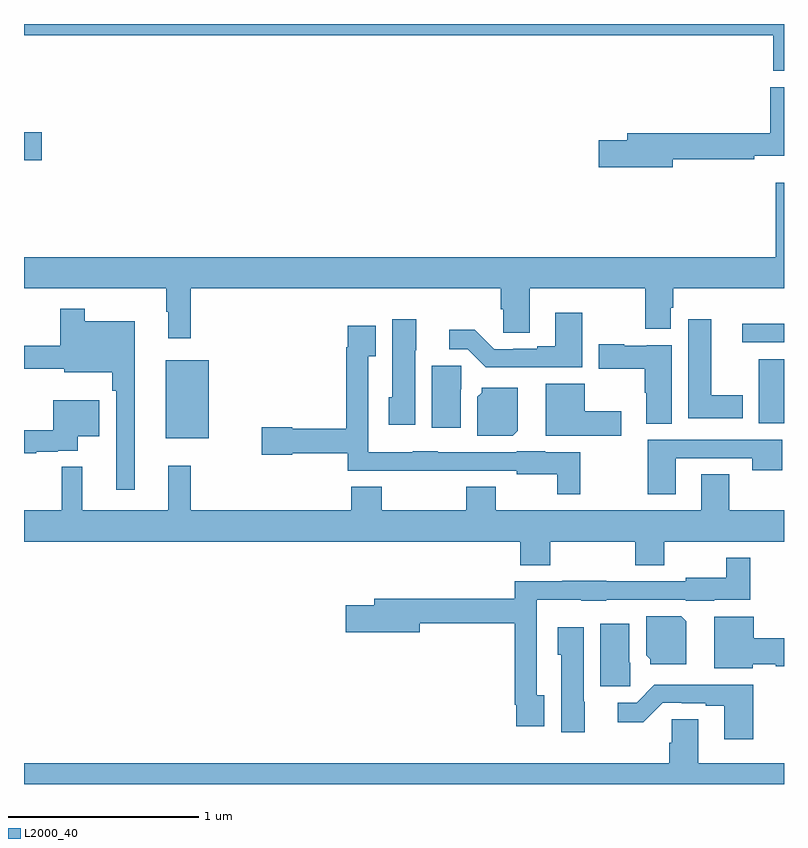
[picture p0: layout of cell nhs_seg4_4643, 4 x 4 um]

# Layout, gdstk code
import gdstk
lib = gdstk.Library(unit=1e-6, precision=1e-09)
def R(c, l, rs):  # rectangles x0, y0, x1, y1
    for r in rs: c.add(gdstk.rectangle(r[:2], r[2:], *l))
def P(c, l, *ps):  # polygons
    for p in ps: c.add(gdstk.Polygon(p, *l))
L2000_40 = (2000, 40)

nhs_seg4_4643 = lib.new_cell('nhs_seg4_4643')
R(nhs_seg4_4643, L2000_40, [(361.745,774.719,361.972,775.129), (364.868,774.8,365,775.135), (364.779,775.224,365,775.322), (361,776.183,361.093,776.33)])
P(nhs_seg4_4643, L2000_40, [(361,776.84),(364.943,776.84),(364.943,776.653),(365,776.653),(365,776.9),(361,776.9)],
  [(364.414,776.188),(364.844,776.188),(364.844,776.207),(365,776.207),(365,776.568),(364.928,776.568),(364.928,776.324),(364.175,776.324),(364.175,776.288),(364.026,776.288),(364.026,776.146),(364.414,776.146)],
  [(361.877,775.508),(363.509,775.508),(363.509,775.398),(363.522,775.398),(363.522,775.276),(363.661,775.276),(363.661,775.508),(364.27,775.508),(364.27,775.295),(364.405,775.295),(364.405,775.407),(364.418,775.407),(364.418,775.508),(365,775.508),(365,776.065),(364.957,776.065),(364.957,775.672),(361,775.672),(361,775.508),(361.749,775.508),(361.749,775.385),(361.76,775.385),(361.76,775.245),(361.877,775.245)],
  [(361.582,775.336),(361.321,775.336),(361.321,775.402),(361.192,775.402),(361.192,775.207),(361,775.207),(361,775.086),(361.211,775.086),(361.211,775.067),(361.465,775.067),(361.465,774.971),(361.485,774.971),(361.485,774.45),(361.582,774.45)],
  [(363.937,775.381),(363.797,775.381),(363.797,775.204),(363.701,775.204),(363.701,775.191),(363.574,775.191),(363.574,775.188),(363.474,775.188),(363.372,775.291),(363.237,775.291),(363.237,775.188),(363.336,775.188),(363.43,775.094),(363.937,775.094)],
  [(363.058,775.182),(363.064,775.182),(363.064,775.345),(362.939,775.345),(362.939,774.936),(362.921,774.936),(362.921,774.792),(363.058,774.792)],
  [(364.783,774.946),(364.618,774.946),(364.618,775.345),(364.496,775.345),(364.496,774.824),(364.783,774.824)],
  [(363.928,774.646),(363.744,774.646),(363.744,774.652),(363.594,774.652),(363.594,774.645),(363.177,774.645),(363.177,774.652),(363.045,774.652),(363.045,774.646),(362.811,774.646),(362.811,775.151),(362.851,775.151),(362.851,775.312),(362.703,775.312),(362.703,775.199),(362.695,775.199),(362.695,774.77),(362.412,774.77),(362.412,774.778),(362.25,774.778),(362.25,774.634),(362.412,774.634),(362.412,774.642),(362.703,774.642),(362.703,774.549),(362.945,774.549),(362.945,774.548),(363.177,774.548),(363.177,774.549),(363.594,774.549),(363.594,774.53),(363.807,774.53),(363.807,774.425),(363.928,774.425)],
  [(364.408,775.21),(364.278,775.21),(364.278,775.207),(364.158,775.207),(364.158,775.215),(364.026,775.215),(364.026,775.085),(364.267,775.085),(364.267,774.958),(364.274,774.958),(364.274,774.796),(364.408,774.796)],
  [(363.298,774.978),(363.302,774.978),(363.302,775.101),(363.146,775.101),(363.146,774.774),(363.298,774.774)],
  [(364.144,774.862),(363.952,774.862),(363.952,775.006),(363.746,775.006),(363.746,774.734),(363.948,774.734),(363.948,774.733),(364.144,774.733)],
  [(363.598,774.76),(363.598,774.985),(363.408,774.985),(363.408,774.96),(363.386,774.938),(363.386,774.734),(363.572,774.734)],
  [(361.064,774.648),(361.178,774.648),(361.178,774.654),(361.282,774.654),(361.282,774.731),(361.396,774.731),(361.396,774.919),(361.153,774.919),(361.153,774.763),(361,774.763),(361,774.642),(361.064,774.642)],
  [(364.429,774.615),(364.834,774.615),(364.834,774.552),(364.99,774.552),(364.99,774.711),(364.282,774.711),(364.282,774.426),(364.429,774.426)],
  [(363.771,774.176),(364.216,774.176),(364.216,774.052),(364.371,774.052),(364.371,774.176),(365,774.176),(365,774.34),(364.713,774.34),(364.713,774.53),(364.565,774.53),(364.565,774.34),(363.483,774.34),(363.483,774.464),(363.328,774.464),(363.328,774.34),(362.883,774.34),(362.883,774.464),(362.723,774.464),(362.723,774.34),(361.877,774.34),(361.877,774.574),(361.76,774.574),(361.76,774.34),(361.307,774.34),(361.307,774.569),(361.198,774.569),(361.198,774.34),(361,774.34),(361,774.176),(363.611,774.176),(363.611,774.052),(363.771,774.052)],
  [(363.739,773.366),(363.699,773.366),(363.699,773.87),(363.933,773.87),(363.933,773.864),(364.065,773.864),(364.065,773.871),(364.482,773.871),(364.482,773.864),(364.632,773.864),(364.632,773.87),(364.823,773.87),(364.823,774.091),(364.695,774.091),(364.695,773.986),(364.482,773.986),(364.482,773.967),(364.065,773.967),(364.065,773.969),(363.833,773.969),(363.833,773.967),(363.583,773.967),(363.583,773.875),(362.843,773.875),(362.843,773.841),(362.694,773.841),(362.694,773.699),(363.082,773.699),(363.082,773.746),(363.583,773.746),(363.583,773.317),(363.591,773.317),(363.591,773.205),(363.739,773.205)],
  [(364.486,773.756),(364.46,773.782),(364.274,773.782),(364.274,773.578),(364.296,773.556),(364.296,773.531),(364.486,773.531)],
  [(364.836,773.531),(364.956,773.531),(364.956,773.519),(365,773.519),(365,773.666),(364.84,773.666),(364.84,773.78),(364.634,773.78),(364.634,773.51),(364.836,773.51)],
  [(364.19,773.538),(364.186,773.538),(364.186,773.743),(364.034,773.743),(364.034,773.415),(364.19,773.415)],
  [(363.952,773.334),(363.946,773.334),(363.946,773.725),(363.809,773.725),(363.809,773.58),(363.827,773.58),(363.827,773.172),(363.952,773.172)],
  [(364.838,773.422),(364.318,773.422),(364.224,773.328),(364.125,773.328),(364.125,773.226),(364.26,773.226),(364.362,773.328),(364.462,773.328),(364.462,773.325),(364.589,773.325),(364.589,773.313),(364.685,773.313),(364.685,773.136),(364.838,773.136)],
  [(364.549,773.24),(364.41,773.24),(364.41,773.118),(364.397,773.118),(364.397,773.008),(361,773.008),(361,772.9),(365,772.9),(365,773.008),(364.549,773.008)])

lib.write_gds('nhs_seg4_4643.gds')
